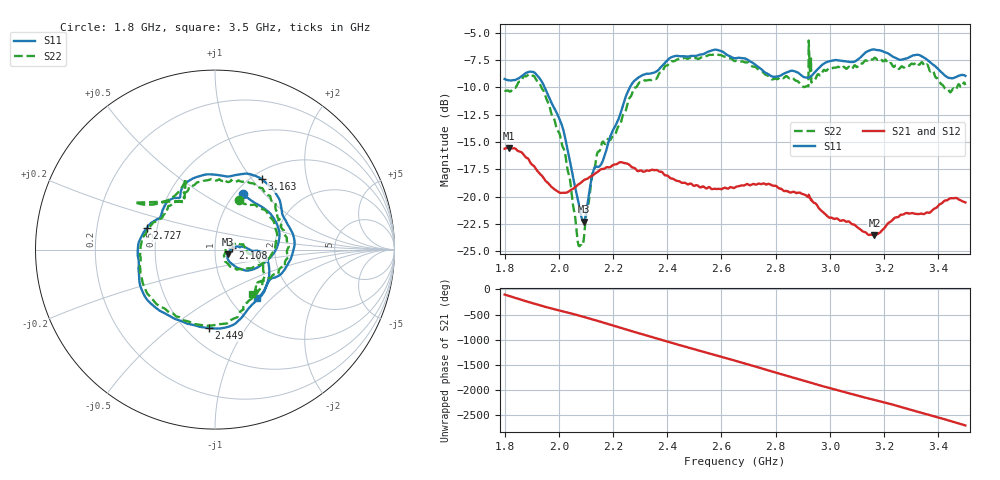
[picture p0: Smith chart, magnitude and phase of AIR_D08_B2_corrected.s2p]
! Created with skrf 1.9.0 (http://scikit-rf.org).
# Hz S RI R 50.0
!freq ReS11 ImS11 ReS21 ImS21 ReS12 ImS12 ReS22 ImS22
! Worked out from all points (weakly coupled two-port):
!   1601 points, 1.8 GHz to 3.5 GHz, reference 50 ohm
!   highest |S21| = -15.55 dB at 1.815 GHz (marker M1); lowest = -23.6 dB at 3.164 GHz (marker M2)
!   lowest |S11| = -22.3 dB at 2.091 GHz (marker M3), VSWR 1.17, Z = 57.7 - j3.04 ohm
!   |S11| at or under -10 dB: 1.947 GHz to 2.262 GHz (314.9 MHz wide, 15 % of centre)
!   |S22| runs from -24.5 to -5.7 dB; largest |S21 - S12| = 0.0036
!   S11 on the Smith chart (normalised r, x): 1.8 GHz: 1.09, +0.76; 2.108 GHz: 1.21, +0.02; 2.449 GHz: 0.64, -0.69; 2.727 GHz: 0.44, +0.12; 3.163 GHz: 1.11, +1.12; 3.5 GHz: 1.31, -0.82
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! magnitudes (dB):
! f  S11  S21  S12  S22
! 1.8 GHz  -9.2  -15.6  -15.6  -10.3
! 1.815 GHz  -9.4  -15.5  -15.6  -10.3
! 1.89 GHz  -8.6  -16.7  -16.7  -8.8
! 1.941 GHz  -9.7  -18.2  -18.2  -10.2
! 2.019 GHz  -14.1  -19.7  -19.7  -15.7
! 2.07 GHz  -20.2  -18.9  -19.0  -24.1
! 2.084 GHz  -21.9  -18.7  -18.7  -24.5
! 2.091 GHz  -22.3  -18.5  -18.6  -24.1
! 2.108 GHz  -20.3  -18.3  -18.3  -20.7
! 2.127 GHz  -17.7  -18.0  -18.0  -17.7
! 2.147 GHz  -17.3  -17.7  -17.7  -15.9
! 2.263 GHz  -10.0  -17.2  -17.2  -10.9
! 2.367 GHz  -8.4  -17.7  -17.6  -8.9
! 2.449 GHz  -7.2  -18.7  -18.7  -7.4
! 2.65 GHz  -7.3  -19.2  -19.2  -7.6
! 2.727 GHz  -8.0  -18.9  -18.9  -8.2
! 2.904 GHz  -9.1  -19.8  -19.8  -10.0
! 2.934 GHz  -8.9  -20.4  -20.4  -9.5
! 3.163 GHz  -6.5  -23.6  -23.5  -7.3
! 3.164 GHz  -6.5  -23.6  -23.5  -7.3
! 3.217 GHz  -6.9  -22.4  -22.4  -7.9
! 3.5 GHz  -9.0  -20.5  -20.5  -9.8
